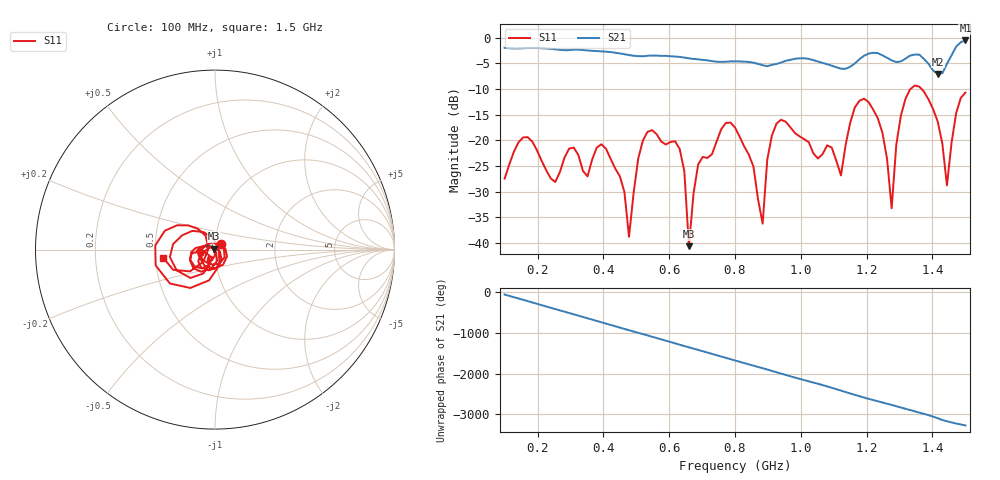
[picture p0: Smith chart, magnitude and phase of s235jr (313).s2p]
! NanoVNA-App
! Date: 2025-09-25 15:06:36
! Start: 100MHz Stop: 1,5GHz Points: 101
! S-Parameter data: F S11 S21 S12 S22
# Hz S RI R 50
!  Frequency  S11_Real  S11_Imag  S21_Real  S21_Imag  S12_Real  S12_Imag  S22_Real  S22_Imag
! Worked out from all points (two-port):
!   101 points, 100 MHz to 1.5 GHz, reference 50 ohm
!   highest |S21| = -0.52 dB at 1.5 GHz (marker M1); lowest = -7.1 dB at 1.416 GHz (marker M2)
!   |S21| within 3 dB of the highest: start of sweep to 494.2 MHz; 1.192 GHz to 1.251 GHz (58.97 MHz wide, 4.83 % of centre) (the widest 2 of 5)
!   lowest |S11| = -40.6 dB at 660 MHz (marker M3), VSWR 1.02, Z = 49.3 + j0.571 ohm
!   |S11| at or under -10 dB: start of sweep to 1.333 GHz; 1.367 GHz to end of sweep
!   S12 and S22 are empty: the file has one direction only
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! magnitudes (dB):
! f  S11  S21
! 100 MHz  -27.5  -2.0
! 156 MHz  -19.4  -2.0
! 338 MHz  -26.0  -2.4
! 408 MHz  -21.6  -2.7
! 478 MHz  -38.8  -3.4
! 520 MHz  -20.1  -3.6
! 576 MHz  -20.2  -3.5
! 632 MHz  -21.7  -3.7
! 660 MHz  -40.6  -4.0
! 688 MHz  -24.7  -4.2
! 800 MHz  -17.5  -4.6
! 884 MHz  -36.3  -5.3
! 926 MHz  -16.8  -5.1
! 1.038 GHz  -22.5  -4.4
! 1.122 GHz  -26.8  -6.0
! 1.192 GHz  -11.9  -3.5
! 1.248 GHz  -18.5  -3.4
! 1.276 GHz  -33.3  -4.4
! 1.332 GHz  -10.1  -3.5
! 1.416 GHz  -16.4  -7.1
! 1.444 GHz  -28.8  -5.1
! 1.5 GHz  -10.7  -0.5
